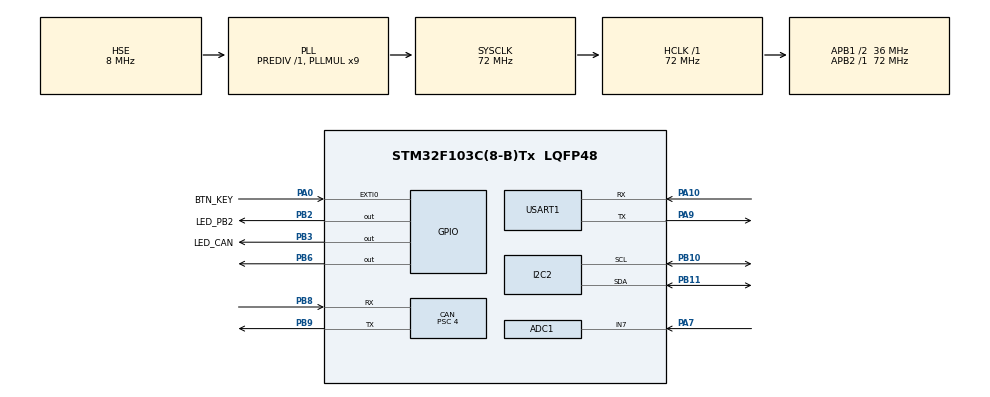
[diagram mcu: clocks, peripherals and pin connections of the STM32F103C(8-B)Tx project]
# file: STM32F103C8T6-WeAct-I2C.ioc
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ADC1.Channel-3\#ChannelRegularConversion=ADC_CHANNEL_7
ADC1.ContinuousConvMode=DISABLE
ADC1.ExternalTrigConv=ADC_EXTERNALTRIGCONV_T3_TRGO
ADC1.NbrOfConversion=1
ADC1.NbrOfConversionFlag=1
ADC1.Rank-3\#ChannelRegularConversion=1
ADC1.SamplingTime-3\#ChannelRegularConversion=ADC_SAMPLETIME_1CYCLE_5
ADC1.master=1
CAN.BS1=CAN_BS1_4TQ
CAN.BS2=CAN_BS2_4TQ
CAN.CalculateBaudRate=1000000
CAN.CalculateTimeBit=1000
CAN.CalculateTimeQuantum=111.11111111111111
CAN.Prescaler=4
I2C2.OwnAddress=55
Mcu.Family=STM32F1
Mcu.Name=STM32F103C(8-B)Tx
Mcu.Package=LQFP48
NVIC.ADC1_2_IRQn=true\:0\:0\:false\:false\:true\:true\:true\:true
NVIC.CAN1_RX1_IRQn=true\:0\:0\:false\:false\:true\:true\:true\:true
NVIC.CAN1_SCE_IRQn=true\:0\:0\:false\:false\:true\:true\:true\:true
NVIC.EXTI0_IRQn=true\:0\:0\:false\:false\:true\:true\:true\:true
NVIC.I2C2_ER_IRQn=true\:0\:0\:false\:false\:true\:true\:true\:true
NVIC.I2C2_EV_IRQn=true\:0\:0\:false\:false\:true\:true\:true\:true
NVIC.PriorityGroup=NVIC_PRIORITYGROUP_4
NVIC.USB_HP_CAN1_TX_IRQn=true\:0\:0\:false\:false\:true\:true\:true\:true
NVIC.USB_LP_CAN1_RX0_IRQn=true\:0\:0\:false\:false\:true\:true\:true\:true
PA0-WKUP.GPIO_Label=BTN_KEY
PA0-WKUP.GPIO_ModeDefaultEXTI=GPIO_MODE_IT_RISING_FALLING
PA0-WKUP.GPIO_PuPd=GPIO_PULLDOWN
PA0-WKUP.Signal=GPXTI0
PA10.Mode=Asynchronous
PA10.Signal=USART1_RX
PA7.Signal=ADCx_IN7
PA9.Mode=Asynchronous
PA9.Signal=USART1_TX
PB10.Mode=I2C
PB10.Signal=I2C2_SCL
PB11.Mode=I2C
PB11.Signal=I2C2_SDA
PB2.GPIO_Label=LED_PB2
PB2.Signal=GPIO_Output
PB3.GPIO_Label=LED_CAN
PB3.Signal=GPIO_Output
PB6.Signal=GPIO_Output
PB8.Mode=CAN_Activate
PB8.Signal=CAN_RX
PB9.Mode=CAN_Activate
PB9.Signal=CAN_TX
PC15-OSC32_OUT.Signal=GPXTI15
PD0-OSC_IN.Mode=HSE-External-Oscillator
PD0-OSC_IN.Signal=RCC_OSC_IN
PD1-OSC_OUT.Mode=HSE-External-Oscillator
PD1-OSC_OUT.Signal=RCC_OSC_OUT
ProjectManager.HeapSize=0x200
ProjectManager.StackSize=0x400
ProjectManager.TargetToolchain=STM32CubeIDE
RCC.ADCPresc=RCC_ADCPCLK2_DIV6
RCC.AHBFreq_Value=72000000
RCC.APB1CLKDivider=RCC_HCLK_DIV2
RCC.APB1Freq_Value=36000000
RCC.APB1TimFreq_Value=72000000
RCC.APB2Freq_Value=72000000
RCC.APB2TimFreq_Value=72000000
RCC.HCLKFreq_Value=72000000
RCC.PLLMUL=RCC_PLL_MUL9
RCC.PLLSourceVirtual=RCC_PLLSOURCE_HSE
RCC.SYSCLKFreq_VALUE=72000000
RCC.SYSCLKSource=RCC_SYSCLKSOURCE_PLLCLK
RCC.USBFreq_Value=72000000
SH.ADCx_IN7.0=ADC1_IN7,IN7
TIM3.AutoReloadPreload=TIM_AUTORELOAD_PRELOAD_ENABLE
TIM3.Period=59999
TIM3.Prescaler=23
TIM3.TIM_MasterOutputTrigger=TIM_TRGO_UPDATE
USART1.VirtualMode=VM_ASYNC
VP_SYS_VS_ND.Mode=No_Debug
VP_TIM3_VS_ClockSourceINT.Mode=Internal
board=custom

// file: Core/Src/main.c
/* USER CODE BEGIN Header */
/**
  ******************************************************************************
  * @file           : main.c
  * @brief          : Main program body
  ******************************************************************************
  * @attention
  *
  * Copyright (c) 2025 STMicroelectronics.
  * All rights reserved.
  *
  * This software is licensed under terms that can be found in the LICENSE file
  * in the root directory of this software component.
  * If no LICENSE file comes with this software, it is provided AS-IS.
  *
  ******************************************************************************
  */
/* USER CODE END Header */
#include "main.h"

/* USER CODE BEGIN Includes */
#include <string.h>
#include "ANSI_utils.h"
/* USER CODE END Includes */

/* USER CODE BEGIN PD */
#define ADC_MODE_POLLING 0
#define ADC_MODE_INTERRUPT 1
#define ADC_MODE ADC_MODE_INTERRUPT

#define FAST_TOGGLE_MS 40
#define SLOW_TOGGLE_MS 1000
#define FAST_TOGGLE_DURATION_MS 2000
#define RX_BUFFER_SIZE 3
/* USER CODE END PD */

ADC_HandleTypeDef hadc1;

CAN_HandleTypeDef hcan;

I2C_HandleTypeDef hi2c2;

TIM_HandleTypeDef htim3;

UART_HandleTypeDef huart1;

void SystemClock_Config(void);
static void MX_GPIO_Init(void);
static void MX_CAN_Init(void);
static void MX_I2C2_Init(void);
static void MX_USART1_UART_Init(void);
static void MX_ADC1_Init(void);
static void MX_TIM3_Init(void);

/* USER CODE BEGIN 0 */

/* Variable to track if a full message has been received */
volatile uint8_t RxCpltFlag = 0;

/* Variable to track if a full message has been received */
volatile uint8_t ADCcpltFlag = 0;

/* LED toggle delay - volatile as it's modified in interrupt context */
volatile uint32_t nextToggleDelay = 1000;

/* Counter for button presses */
volatile uint32_t btnPressTime = 0;

/* Analog-Digital Conversion result*/
volatile uint16_t AD_RES = 0;

/* Buffer to store the received I2C data */
uint8_t RxDataBuffer[RX_BUFFER_SIZE];

CAN_RxHeaderTypeDef RxHeader;
CAN_TxHeaderTypeDef TxHeader;

uint8_t RxData[8];
uint8_t TxData[8];

int datacheck = 0;

void HAL_GPIO_EXTI_Callback(uint16_t GPIO_Pin)
{
	/* Set fast toggle mode for 2 seconds after button press */
	btnPressTime = HAL_GetTick();
	nextToggleDelay = FAST_TOGGLE_MS;
}

/**
  * @brief  Slave Receive complete callback.
  * @param  hi2c Pointer to a I2C_HandleTypeDef structure that contains
  * the configuration information for I2C module.
  * @retval None
  */
void HAL_I2C_SlaveRxCpltCallback(I2C_HandleTypeDef *hi2c)
{
    /* Check if the callback is from the correct I2C peripheral */
    if (hi2c->Instance == I2C2)
    {
        /* Set the flag to notify the main loop that data is ready */
        RxCpltFlag = 1;

        /* Restart I2C slave reception for next message */
        /* Note: This is done in callback to ensure continuous reception */
        HAL_I2C_Slave_Receive_IT(hi2c, (uint8_t*)hi2c->pBuffPtr - RX_BUFFER_SIZE, RX_BUFFER_SIZE);
    }
    nextToggleDelay = FAST_TOGGLE_MS;
}

void HAL_I2C_ErrorCallback(I2C_HandleTypeDef *hi2c)
{
	nextToggleDelay = FAST_TOGGLE_MS;
}

void HAL_ADC_ConvCpltCallback(ADC_HandleTypeDef* hadc)
{
    // Read & Update The ADC Result
    AD_RES = HAL_ADC_GetValue(&hadc1);
    ADCcpltFlag = 1;
}

void HAL_CAN_RxFifo0MsgPendingCallback(CAN_HandleTypeDef *hcan)
{
	HAL_CAN_GetRxMessage(hcan, CAN_RX_FIFO0, &RxHeader, RxData);
	if (RxHeader.DLC == 8
		&& RxData[0] == 0
		&& RxData[1] == 0xFF
		&& RxData[2] == 0
		&& RxData[3] == 0xFF
		&& RxData[4] == 0
		&& RxData[5] == 0xFF
		&& RxData[6] == 0
		&& RxData[7] == 0xFF
		)
	{
		datacheck = 1;
	}
}

/* USER CODE END 0 */

int main(void)
{

  /* MCU Configuration--------------------------------------------------------*/

  /* Reset of all peripherals, Initializes the Flash interface and the Systick. */
  HAL_Init();

  /* Configure the system clock */
  SystemClock_Config();

  /* Initialize all configured peripherals */
  MX_GPIO_Init();
  MX_CAN_Init();
  MX_I2C2_Init();
  MX_USART1_UART_Init();
  MX_ADC1_Init();
  MX_TIM3_Init();
  /* USER CODE BEGIN 2 */

  /*##-2- Configure the CAN Filter ###########################################*/
  CAN_FilterTypeDef sFilterConfig;

  sFilterConfig.FilterBank = 0;
  sFilterConfig.FilterMode = CAN_FILTERMODE_IDMASK;
  sFilterConfig.FilterScale = CAN_FILTERSCALE_32BIT;
  sFilterConfig.FilterIdHigh = 0x0000;
  sFilterConfig.FilterIdLow = 0x0000;
  sFilterConfig.FilterMaskIdHigh = 0x0000;
  sFilterConfig.FilterMaskIdLow = 0x0000;
  sFilterConfig.FilterFIFOAssignment = CAN_RX_FIFO0;
  sFilterConfig.FilterActivation = ENABLE;
  sFilterConfig.SlaveStartFilterBank = 14;

  if (HAL_CAN_ConfigFilter(&hcan, &sFilterConfig) != HAL_OK)
  {
    /* Filter configuration Error */
    Error_Handler();
  }

  HAL_CAN_Start(&hcan);
  HAL_CAN_ActivateNotification(&hcan, CAN_IT_RX_FIFO0_MSG_PENDING);

  /* USER CODE END 2 */

  /* Infinite loop */
  /* USER CODE BEGIN WHILE */
  int count = 0;
  char cbuff[400]= {0};

  uint32_t last_receive_ms = HAL_GetTick();
  uint32_t last_update_ms = 0;

  /* * START THE ASYNCHRONOUS RECEPTION
   * * Parameters:
   * 1. &hi2c1: Pointer to the I2C handle structure (e.g., I2C1)
   * 2. RxDataBuffer: Pointer to the data buffer
   * 3. RX_BUFFER_SIZE: The number of bytes to receive
   */
  if (HAL_I2C_Slave_Receive_IT(&hi2c2, RxDataBuffer, RX_BUFFER_SIZE) != HAL_OK)
  {
      /* Error handling */
      Error_Handler();
  }

  	HAL_ADC_Stop(&hadc1);

    if (HAL_ADCEx_Calibration_Start(&hadc1) != HAL_OK)
    {
    	// Calibration failed
    	Error_Handler(); // Define your error handler
    }

#if ADC_MODE==ADC_MODE_POLLING
    if (HAL_ADC_Start(&hadc1))
    {
        /* Error handling */
        Error_Handler();
    }
#elif ADC_MODE==ADC_MODE_INTERRUPT
    HAL_TIM_Base_Start(&htim3); // Start Timer3 (Trigger Source For ADC1)
    if (HAL_ADC_Start_IT(&hadc1))
    {
        /* Error handling */
        Error_Handler();
    }
#endif
    //TODO:
    clear_screen(&huart1);

    while (1)
    {
		/* Check if we should return to slow toggle mode */
		uint32_t now_ms = HAL_GetTick();
		if (btnPressTime > 0 && (now_ms - btnPressTime) > FAST_TOGGLE_DURATION_MS) {
			nextToggleDelay = SLOW_TOGGLE_MS;
			btnPressTime = 0; /* Reset timer */
		}

		/* Toggle LED at current rate */
		uint16_t LEDS = GPIO_PIN_2 | GPIO_PIN_6;
		if (datacheck == 1)
		{
			LEDS |= GPIO_PIN_3;
			datacheck = 0;
		}

		HAL_GPIO_TogglePin(GPIOB, LEDS);
		HAL_Delay(nextToggleDelay);
		/* USER CODE END WHILE */

		/* USER CODE BEGIN 3 */
		/* Check if I2C data has been received */
		if (RxCpltFlag == 1)
		{
			++count;
			/* Only print the 3 bytes we actually received (RX_BUFFER_SIZE = 3) */
			sprintf(cbuff, ANSI_GREEN"[%5ld:%3ld]"ANSI_END" I2C2 "
						   ANSI_YELLOW"["ANSI_END"%3d %3d %3d"ANSI_YELLOW "]"ANSI_END,
				now_ms/1000,
				now_ms%1000,
				RxDataBuffer[0],
				RxDataBuffer[1],
				RxDataBuffer[2]
			);

			HAL_UART_Transmit(&huart1, (uint8_t*)cbuff, strlen(cbuff), 100);

			last_receive_ms = HAL_GetTick();

			/* Set fast toggle mode for 2 seconds after I2C receive */
			btnPressTime = HAL_GetTick();
			nextToggleDelay = FAST_TOGGLE_MS;

			RxCpltFlag = 0;
		}
		else {
			/* Periodically report no data status */
			if (now_ms - last_receive_ms >= 1000 && now_ms - last_update_ms >= 1000)
			{
				sprintf(cbuff, "No data for %lds\r\n", (now_ms - last_receive_ms) / 1000);
				last_update_ms = now_ms;
				HAL_UART_Transmit(&huart1, (uint8_t*)cbuff, strlen(cbuff), 100);
			}
		}

	#if ADC_MODE==ADC_MODE_INTERRUPT
		if (ADCcpltFlag)
		{
			sprintf(cbuff, "\033[2;12H"
						   " ADC: %6d",
				AD_RES
			);

			HAL_UART_Transmit(&huart1, (uint8_t*)cbuff, strlen(cbuff), 100);
			ADCcpltFlag = 0;
		}
	#else
		  HAL_ADC_PollForConversion(&hadc1, 1);
		  AD_RES = HAL_ADC_GetValue(&hadc1);
		  sprintf(cbuff, "\x1b[32m" "[%5d:%3d]"    "\x1b[0m"
								  " ADC: %6d\r\n",
			  now_ms/1000,
			  now_ms%1000,
			  AD_RES
		  );
		  HAL_UART_Transmit(&huart1, (uint8_t*)cbuff, strlen(cbuff), 100);
	#endif
  }
  /* USER CODE END 3 */
}

void SystemClock_Config(void)
{
  RCC_OscInitTypeDef RCC_OscInitStruct = {0};
  RCC_ClkInitTypeDef RCC_ClkInitStruct = {0};
  RCC_PeriphCLKInitTypeDef PeriphClkInit = {0};

  /** Initializes the RCC Oscillators according to the specified parameters
  * in the RCC_OscInitTypeDef structure.
  */
  RCC_OscInitStruct.OscillatorType = RCC_OSCILLATORTYPE_HSE;
  RCC_OscInitStruct.HSEState = RCC_HSE_ON;
  RCC_OscInitStruct.HSEPredivValue = RCC_HSE_PREDIV_DIV1;
  RCC_OscInitStruct.HSIState = RCC_HSI_ON;
  RCC_OscInitStruct.PLL.PLLState = RCC_PLL_ON;
  RCC_OscInitStruct.PLL.PLLSource = RCC_PLLSOURCE_HSE;
  RCC_OscInitStruct.PLL.PLLMUL = RCC_PLL_MUL9;
  if (HAL_RCC_OscConfig(&RCC_OscInitStruct) != HAL_OK)
  {
    Error_Handler();
  }

  /** Initializes the CPU, AHB and APB buses clocks
  */
  RCC_ClkInitStruct.ClockType = RCC_CLOCKTYPE_HCLK|RCC_CLOCKTYPE_SYSCLK
                              |RCC_CLOCKTYPE_PCLK1|RCC_CLOCKTYPE_PCLK2;
  RCC_ClkInitStruct.SYSCLKSource = RCC_SYSCLKSOURCE_PLLCLK;
  RCC_ClkInitStruct.AHBCLKDivider = RCC_SYSCLK_DIV1;
  RCC_ClkInitStruct.APB1CLKDivider = RCC_HCLK_DIV2;
  RCC_ClkInitStruct.APB2CLKDivider = RCC_HCLK_DIV1;

  if (HAL_RCC_ClockConfig(&RCC_ClkInitStruct, FLASH_LATENCY_2) != HAL_OK)
  {
    Error_Handler();
  }
  PeriphClkInit.PeriphClockSelection = RCC_PERIPHCLK_ADC;
  PeriphClkInit.AdcClockSelection = RCC_ADCPCLK2_DIV6;
  if (HAL_RCCEx_PeriphCLKConfig(&PeriphClkInit) != HAL_OK)
  {
    Error_Handler();
  }
}

static void MX_ADC1_Init(void)
{

  ADC_ChannelConfTypeDef sConfig = {0};

  /** Common config
  */
  hadc1.Instance = ADC1;
  hadc1.Init.ScanConvMode = ADC_SCAN_DISABLE;
  hadc1.Init.ContinuousConvMode = DISABLE;
  hadc1.Init.DiscontinuousConvMode = DISABLE;
  hadc1.Init.ExternalTrigConv = ADC_EXTERNALTRIGCONV_T3_TRGO;
  hadc1.Init.DataAlign = ADC_DATAALIGN_RIGHT;
  hadc1.Init.NbrOfConversion = 1;
  if (HAL_ADC_Init(&hadc1) != HAL_OK)
  {
    Error_Handler();
  }

  /** Configure Regular Channel
  */
  sConfig.Channel = ADC_CHANNEL_7;
  sConfig.Rank = ADC_REGULAR_RANK_1;
  sConfig.SamplingTime = ADC_SAMPLETIME_1CYCLE_5;
  if (HAL_ADC_ConfigChannel(&hadc1, &sConfig) != HAL_OK)
  {
    Error_Handler();
  }

}

static void MX_CAN_Init(void)
{

  hcan.Instance = CAN1;
  hcan.Init.Prescaler = 4;
  hcan.Init.Mode = CAN_MODE_NORMAL;
  hcan.Init.SyncJumpWidth = CAN_SJW_1TQ;
  hcan.Init.TimeSeg1 = CAN_BS1_4TQ;
  hcan.Init.TimeSeg2 = CAN_BS2_4TQ;
  hcan.Init.TimeTriggeredMode = DISABLE;
  hcan.Init.AutoBusOff = DISABLE;
  hcan.Init.AutoWakeUp = DISABLE;
  hcan.Init.AutoRetransmission = DISABLE;
  hcan.Init.ReceiveFifoLocked = DISABLE;
  hcan.Init.TransmitFifoPriority = DISABLE;
  if (HAL_CAN_Init(&hcan) != HAL_OK)
  {
    Error_Handler();
  }

}

static void MX_I2C2_Init(void)
{

  /* USER CODE BEGIN I2C2_Init 1 */

// STM32CubeMX performs bit shift to the assigned address
// The value of OwnAddress1 does NOT reflect the true address assigned
// in the Cube MX. It is double the value.

  /* USER CODE END I2C2_Init 1 */
  hi2c2.Instance = I2C2;
  hi2c2.Init.ClockSpeed = 100000;
  hi2c2.Init.DutyCycle = I2C_DUTYCYCLE_2;
  hi2c2.Init.OwnAddress1 = 110;
  hi2c2.Init.AddressingMode = I2C_ADDRESSINGMODE_7BIT;
  hi2c2.Init.DualAddressMode = I2C_DUALADDRESS_DISABLE;
  hi2c2.Init.OwnAddress2 = 0;
  hi2c2.Init.GeneralCallMode = I2C_GENERALCALL_DISABLE;
  hi2c2.Init.NoStretchMode = I2C_NOSTRETCH_DISABLE;
  if (HAL_I2C_Init(&hi2c2) != HAL_OK)
  {
    Error_Handler();
  }

}

static void MX_TIM3_Init(void)
{

  TIM_ClockConfigTypeDef sClockSourceConfig = {0};
  TIM_MasterConfigTypeDef sMasterConfig = {0};

  htim3.Instance = TIM3;
  htim3.Init.Prescaler = 23;
  htim3.Init.CounterMode = TIM_COUNTERMODE_UP;
  htim3.Init.Period = 59999;
  htim3.Init.ClockDivision = TIM_CLOCKDIVISION_DIV1;
  htim3.Init.AutoReloadPreload = TIM_AUTORELOAD_PRELOAD_ENABLE;
  if (HAL_TIM_Base_Init(&htim3) != HAL_OK)
  {
    Error_Handler();
  }
  sClockSourceConfig.ClockSource = TIM_CLOCKSOURCE_INTERNAL;
  if (HAL_TIM_ConfigClockSource(&htim3, &sClockSourceConfig) != HAL_OK)
  {
    Error_Handler();
  }
  sMasterConfig.MasterOutputTrigger = TIM_TRGO_UPDATE;
  sMasterConfig.MasterSlaveMode = TIM_MASTERSLAVEMODE_DISABLE;
  if (HAL_TIMEx_MasterConfigSynchronization(&htim3, &sMasterConfig) != HAL_OK)
  {
    Error_Handler();
  }

}

static void MX_USART1_UART_Init(void)
{

  huart1.Instance = USART1;
  huart1.Init.BaudRate = 115200;
  huart1.Init.WordLength = UART_WORDLENGTH_8B;
  huart1.Init.StopBits = UART_STOPBITS_1;
  huart1.Init.Parity = UART_PARITY_NONE;
  huart1.Init.Mode = UART_MODE_TX_RX;
  huart1.Init.HwFlowCtl = UART_HWCONTROL_NONE;
  huart1.Init.OverSampling = UART_OVERSAMPLING_16;
  if (HAL_UART_Init(&huart1) != HAL_OK)
  {
    Error_Handler();
  }

}

static void MX_GPIO_Init(void)
{
  GPIO_InitTypeDef GPIO_InitStruct = {0};

  /* GPIO Ports Clock Enable */
  __HAL_RCC_GPIOC_CLK_ENABLE();
  __HAL_RCC_GPIOD_CLK_ENABLE();
  __HAL_RCC_GPIOA_CLK_ENABLE();
  __HAL_RCC_GPIOB_CLK_ENABLE();

  /*Configure GPIO pin Output Level */
  HAL_GPIO_WritePin(GPIOB, LED_PB2_Pin|LED_CAN_Pin|GPIO_PIN_6, GPIO_PIN_RESET);

  /*Configure GPIO pin : PC15 */
  GPIO_InitStruct.Pin = GPIO_PIN_15;
  GPIO_InitStruct.Mode = GPIO_MODE_IT_RISING;
  GPIO_InitStruct.Pull = GPIO_NOPULL;
  HAL_GPIO_Init(GPIOC, &GPIO_InitStruct);

  /*Configure GPIO pin : BTN_KEY_Pin */
  GPIO_InitStruct.Pin = BTN_KEY_Pin;
  GPIO_InitStruct.Mode = GPIO_MODE_IT_RISING_FALLING;
  GPIO_InitStruct.Pull = GPIO_PULLDOWN;
  HAL_GPIO_Init(BTN_KEY_GPIO_Port, &GPIO_InitStruct);

  /*Configure GPIO pins : LED_PB2_Pin LED_CAN_Pin PB6 */
  GPIO_InitStruct.Pin = LED_PB2_Pin|LED_CAN_Pin|GPIO_PIN_6;
  GPIO_InitStruct.Mode = GPIO_MODE_OUTPUT_PP;
  GPIO_InitStruct.Pull = GPIO_NOPULL;
  GPIO_InitStruct.Speed = GPIO_SPEED_FREQ_LOW;
  HAL_GPIO_Init(GPIOB, &GPIO_InitStruct);

  /* EXTI interrupt init*/
  HAL_NVIC_SetPriority(EXTI0_IRQn, 0, 0);
  HAL_NVIC_EnableIRQ(EXTI0_IRQn);

}

void Error_Handler(void)
{
  /* USER CODE BEGIN Error_Handler_Debug */
  /* User can add his own implementation to report the HAL error return state */
  __disable_irq();
  nextToggleDelay = FAST_TOGGLE_MS;
  while (1)
  {
  }
  /* USER CODE END Error_Handler_Debug */
}
